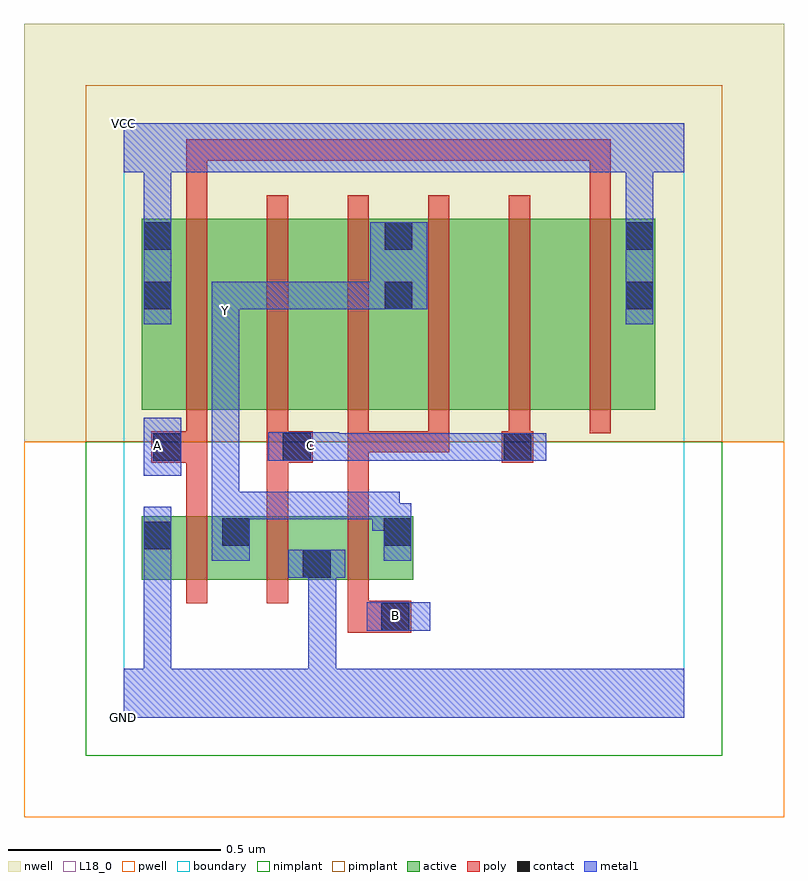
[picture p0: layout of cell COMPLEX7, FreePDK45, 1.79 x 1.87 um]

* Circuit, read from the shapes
.subckt COMPLEX7 A B C GND VCC Y
M1 Y A GND VSUBS nfet w=0.15u l=0.05u
M2 GND C Y VSUBS nfet w=0.15u l=0.05u
M3 Y B GND VSUBS nfet w=0.15u l=0.05u
M4 n1 A VCC n2 pfet w=0.45u l=0.05u
M5 n3 C n1 n2 pfet w=0.45u l=0.05u
M6 Y B n3 n2 pfet w=0.45u l=0.05u
M7 n4 B Y n2 pfet w=0.45u l=0.05u
M8 n5 C n4 n2 pfet w=0.45u l=0.05u
M9 VCC A n5 n2 pfet w=0.45u l=0.05u
.ends

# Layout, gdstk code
import gdstk
lib = gdstk.Library(unit=1e-6, precision=1e-09)
def R(c, l, rs):  # rectangles x0, y0, x1, y1
    for r in rs: c.add(gdstk.rectangle(r[:2], r[2:], *l))
def A(c, l, x, y, w, h, nx, ny, dx, dy):  # array of equal rectangles
    R(c, l, [(x+i*dx, y+j*dy, x+i*dx+w, y+j*dy+h) for i in range(nx) for j in range(ny)])
active = (1, 0)
pwell = (2, 0)
nwell = (3, 0)
nimplant = (4, 0)
pimplant = (5, 0)
poly = (9, 0)
contact = (10, 0)
metal1 = (11, 0)
L18_0 = (18, 0)
boundary = (235, 0)

complex7 = lib.new_cell('COMPLEX7')
R(complex7, active, [(0.042,0.325,0.117,0.475), (0.042,0.325,0.302,0.475), (0.227,0.325,0.492,0.475), (0.417,0.325,0.682,0.475), (0.417,0.325,0.492,0.415), (0.607,0.325,0.682,0.475), (0.227,0.4,0.302,0.475), (0.042,0.725,0.267,1.175), (0.042,0.725,0.117,1.175), (0.267,0.725,0.457,1.175), (0.457,0.725,0.685,1.175), (0.61,0.725,0.837,1.175), (0.837,0.725,1.027,1.175), (1.027,0.725,1.252,1.175), (1.177,0.725,1.252,1.172), (0.61,0.732,0.685,1.175)])
R(complex7, pwell, [(-0.235,-0.235,1.555,0.65)])
R(complex7, nwell, [(-0.235,0.65,1.555,1.635)])
R(complex7, nimplant, [(-0.09,-0.09,1.41,0.65)])
R(complex7, pimplant, [(-0.09,0.65,1.41,1.49)])
A(complex7, poly, 0.147, 0.27, 0.05, 0.26, 3, 1, 0.19, 0)
A(complex7, poly, 0.147, 0.625, 0.05, 0.095, 5, 1, 0.19, 0)
A(complex7, poly, 0.147, 0.67, 0.05, 0.56, 6, 1, 0.19, 0)
R(complex7, poly, [(0.527,0.2,0.677,0.275), (0.527,0.225,0.577,0.32), (0.147,0.48,0.197,0.65), (0.337,0.48,0.387,0.65), (0.527,0.48,0.577,0.675), (0.065,0.6,0.197,0.675), (0.337,0.6,0.445,0.675), (0.89,0.6,0.965,0.675), (0.527,0.625,0.577,0.675), (0.527,0.625,0.577,0.675), (0.527,0.625,0.577,0.675), (0.527,0.625,0.767,0.675), (0.717,0.625,0.767,0.675), (0.147,1.18,0.197,1.362), (1.097,1.18,1.147,1.362), (0.147,1.312,0.197,1.362), (0.147,1.312,0.197,1.362), (0.147,1.312,0.197,1.362), (0.147,1.312,0.445,1.362), (0.395,1.312,0.577,1.362), (0.395,1.312,0.445,1.362), (0.395,1.312,0.445,1.362), (0.395,1.312,0.445,1.362), (0.527,1.312,0.577,1.362), (0.527,1.312,0.577,1.362), (0.527,1.312,0.577,1.362), (0.527,1.312,0.807,1.362), (0.757,1.312,0.807,1.362), (0.757,1.312,0.807,1.362), (0.757,1.312,0.807,1.362), (0.757,1.312,1.015,1.362), (0.965,1.312,1.147,1.362), (0.965,1.312,1.015,1.362), (0.965,1.312,1.015,1.362), (0.965,1.312,1.015,1.362), (1.097,1.312,1.147,1.362)])
R(complex7, contact, [(0.607,0.205,0.672,0.27), (0.422,0.33,0.487,0.395), (0.047,0.397,0.112,0.462), (0.232,0.405,0.297,0.47), (0.612,0.405,0.677,0.47), (0.07,0.605,0.135,0.67), (0.375,0.605,0.44,0.67), (0.895,0.605,0.96,0.67), (0.047,0.962,0.112,1.027), (0.615,0.962,0.68,1.027), (1.182,0.962,1.247,1.027), (0.047,1.102,0.112,1.167), (0.615,1.102,0.68,1.167), (1.182,1.102,1.247,1.167)])
R(complex7, metal1, [(0,0,1.32,0.115), (0.047,0.05,0.112,0.115), (0.047,0.05,0.112,0.115), (0.047,0.05,0.112,0.115), (0.047,0.05,0.112,0.115), (0.047,0.05,0.112,0.115), (0.047,0.05,0.112,0.115), (0.047,0.05,0.112,0.427), (0.435,0.05,0.5,0.115), (0.435,0.05,0.5,0.115), (0.435,0.05,0.5,0.395), (0.572,0.205,0.722,0.272), (0.387,0.33,0.522,0.395), (0.435,0.33,0.5,0.395), (0.435,0.33,0.5,0.395), (0.435,0.33,0.5,0.395), (0.435,0.33,0.5,0.395), (0.047,0.362,0.112,0.497), (0.207,0.37,0.297,0.532), (0.612,0.37,0.677,0.505), (0.585,0.44,0.677,0.505), (0.585,0.44,0.65,0.532), (0.207,0.467,0.272,0.957), (0.232,0.467,0.435,0.532), (0.37,0.467,0.435,0.532), (0.37,0.467,0.435,0.532), (0.37,0.467,0.435,0.532), (0.37,0.467,0.65,0.532), (0.047,0.57,0.135,0.707), (0.34,0.605,0.507,0.672), (0.442,0.605,0.507,0.67), (0.442,0.605,0.507,0.67), (0.442,0.605,0.645,0.67), (0.58,0.605,0.645,0.67), (0.58,0.605,0.787,0.67), (0.722,0.605,0.787,0.67), (0.722,0.605,0.787,0.67), (0.722,0.605,0.787,0.67), (0.722,0.605,0.925,0.67), (0.86,0.605,0.925,0.67), (0.86,0.605,0.925,0.67), (0.86,0.605,0.995,0.67), (0.207,0.892,0.272,1.027), (0.047,0.927,0.112,1.202), (1.182,0.927,1.247,1.202), (0.207,0.962,0.272,1.027), (0.207,0.962,0.272,1.027), (0.207,0.962,0.435,1.027), (0.37,0.962,0.435,1.027), (0.37,0.962,0.435,1.027), (0.37,0.962,0.435,1.027), (0.37,0.962,0.645,1.027), (0.58,0.962,0.645,1.027), (0.58,0.962,0.645,1.027), (0.58,0.962,0.715,1.167), (0.047,1.137,0.112,1.202), (0.047,1.137,0.112,1.202), (0.047,1.137,0.112,1.35), (1.182,1.137,1.247,1.202), (1.182,1.137,1.247,1.202), (1.182,1.137,1.247,1.35), (0,1.285,1.32,1.4)])
R(complex7, L18_0, [(0,0,1.32,0.115), (0.047,0.05,0.112,0.115), (0.047,0.05,0.112,0.115), (0.047,0.05,0.112,0.115), (0.047,0.05,0.112,0.115), (0.047,0.05,0.112,0.115), (0.047,0.05,0.112,0.115), (0.047,0.05,0.112,0.427), (0.435,0.05,0.5,0.115), (0.435,0.05,0.5,0.115), (0.435,0.05,0.5,0.395), (0.572,0.205,0.722,0.272), (0.607,0.207,0.672,0.272), (0.387,0.33,0.522,0.395), (0.435,0.33,0.5,0.395), (0.435,0.33,0.5,0.395), (0.435,0.33,0.5,0.395), (0.435,0.33,0.5,0.395), (0.047,0.362,0.112,0.497), (0.207,0.37,0.297,0.532), (0.612,0.37,0.677,0.505), (0.585,0.44,0.65,0.532), (0.585,0.44,0.677,0.505), (0.207,0.467,0.272,0.957), (0.232,0.467,0.435,0.532), (0.37,0.467,0.435,0.532), (0.37,0.467,0.435,0.532), (0.37,0.467,0.435,0.532), (0.37,0.467,0.65,0.532), (0.047,0.57,0.135,0.707), (0.34,0.605,0.507,0.672), (0.442,0.605,0.507,0.67), (0.442,0.605,0.507,0.67), (0.442,0.605,0.645,0.67), (0.58,0.605,0.645,0.67), (0.58,0.605,0.787,0.67), (0.722,0.605,0.787,0.67), (0.722,0.605,0.787,0.67), (0.722,0.605,0.787,0.67), (0.722,0.605,0.925,0.67), (0.86,0.605,0.925,0.67), (0.86,0.605,0.925,0.67), (0.86,0.605,0.995,0.67), (0.047,0.607,0.112,0.672), (0.407,0.607,0.472,0.672), (0.207,0.892,0.272,1.027), (0.047,0.927,0.112,1.202), (0.207,0.927,0.272,0.992), (1.182,0.927,1.247,1.202), (0.207,0.962,0.272,1.027), (0.207,0.962,0.272,1.027), (0.207,0.962,0.435,1.027), (0.37,0.962,0.435,1.027), (0.37,0.962,0.435,1.027), (0.37,0.962,0.435,1.027), (0.37,0.962,0.645,1.027), (0.58,0.962,0.645,1.027), (0.58,0.962,0.645,1.027), (0.58,0.962,0.715,1.167), (0.047,1.137,0.112,1.202), (0.047,1.137,0.112,1.202), (0.047,1.137,0.112,1.35), (1.182,1.137,1.247,1.202), (1.182,1.137,1.247,1.202), (1.182,1.137,1.247,1.35), (0,1.285,1.32,1.4)])
R(complex7, boundary, [(0,0,1.32,1.4)])
complex7.add(gdstk.Label('A', (0.08,0.64), layer=11, texttype=0))
complex7.add(gdstk.Label('B', (0.64,0.24), layer=11, texttype=0))
complex7.add(gdstk.Label('C', (0.44,0.64), layer=11, texttype=0))
complex7.add(gdstk.Label('Y', (0.24,0.96), layer=11, texttype=0))
complex7.add(gdstk.Label('VCC', (0,1.4), layer=11, texttype=0))
complex7.add(gdstk.Label('GND', (0,0), layer=11, texttype=0))

lib.write_gds('COMPLEX7.gds')
